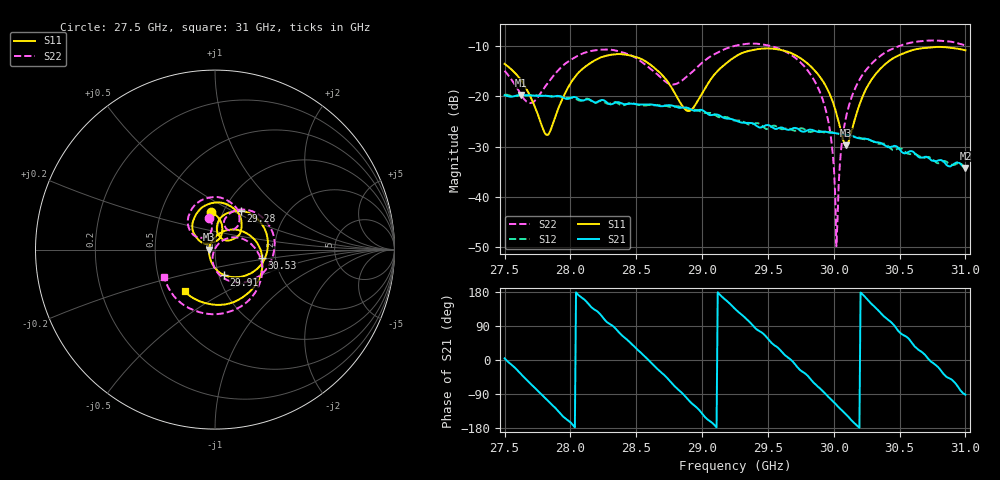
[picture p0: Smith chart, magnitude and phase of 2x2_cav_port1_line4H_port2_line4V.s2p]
!Created with skrf (http://scikit-rf.org).
# GHz S RI R 50.0
!freq ReS11 ImS11 ReS21 ImS21 ReS12 ImS12 ReS22 ImS22
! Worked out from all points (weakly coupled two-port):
!   401 points, 27.5 GHz to 31 GHz, reference 50 ohm
!   highest |S21| = -19.70 dB at 27.62 GHz (marker M1); lowest = -34.2 dB at 31 GHz (marker M2)
!   lowest |S11| = -29.7 dB at 30.09 GHz (marker M3), VSWR 1.07, Z = 46.8 + j0.0156 ohm
!   |S11| at or under -10 dB: start of sweep to end of sweep
!   |S22| runs from -49.8 to -8.9 dB; largest |S21 - S12| = 0.0049
!   S11 on the Smith chart (normalised r, x): 27.5 GHz: 0.88, +0.39; 29.28 GHz: 1.20, +0.55; 29.91 GHz: 1.06, -0.31; 30.53 GHz: 1.70, -0.17; 31 GHz: 0.65, -0.33
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27.5  -0.0216 0.2098  0.1024 0.00801  0.1032 0.0104  -0.0324 0.1769
27.6225  0.0376 0.1415  0.0831 -0.0617  0.0818 -0.0613  -0.0204 0.1037
27.71  0.0364 0.083  0.0397 -0.0939  0.0396 -0.0942  -0.0506 0.0702
27.82375  -0.0136 0.039  -0.0283 -0.0972  -0.0284 -0.0966  -0.1105 0.0745
28.08625  -0.1267 0.1351  -0.0879 0.024  -0.0885 0.0222  -0.1241 0.2341
28.375  0.0346 0.2617  0.029 0.0818  0.0291 0.0777  0.0795 0.2676
28.6725  0.1435 0.101  0.0714 -0.0374  0.0727 -0.0362  0.1104 0.1161
28.9  0.0385 0.0602  -0.0223 -0.0727  -0.0203 -0.0717  0.0502 0.1559
29.25  0.1221 0.2152  -0.0407 0.0408  -0.0416 0.0399  0.2622 0.181
29.27625  0.1447 0.2159  -0.0335 0.045  -0.0353 0.0455  0.2797 0.1632
29.565  0.2948 0.0198  0.0387 0.0274  0.0418 0.0278  0.2848 -0.1105
29.83625  0.1154 -0.154  0.0264 -0.0382  0.0264 -0.0359  0.038 -0.1516
29.90625  0.0492 -0.1409  0.00883 -0.0436  0.00794 -0.0438  -0.00291 -0.101
29.97625  -0.00202 -0.1004  -0.00983 -0.0423  -0.00971 -0.0428  -0.0132 -0.0389
30.02  -0.0223 -0.0639  -0.0202 -0.0378  -0.0206 -0.0376  -0.00297 -0.00126
30.0375  -0.0275 -0.0484  -0.0241 -0.035  -0.0238 -0.035  0.00458 0.0125
30.09  -0.0326 0.000166  -0.0331 -0.0252  -0.0334 -0.025  0.0365 0.0463
30.2125  0.0269 0.091  -0.0379 0.00292  -0.0379 0.00422  0.1471 0.0623
30.4225  0.2186 0.0577  -0.00743 0.0304  -0.00531 0.0307  0.2636 -0.1164
30.5275  0.2631 -0.047  0.0111 0.025  0.0122 0.0267  0.224 -0.2391
30.755  0.1335 -0.278  0.0226 -0.00315  0.023 -0.00401  -0.0376 -0.3582
31  -0.1689 -0.2326  -0.000534 -0.0194  -0.000359 -0.0197  -0.2832 -0.1512
